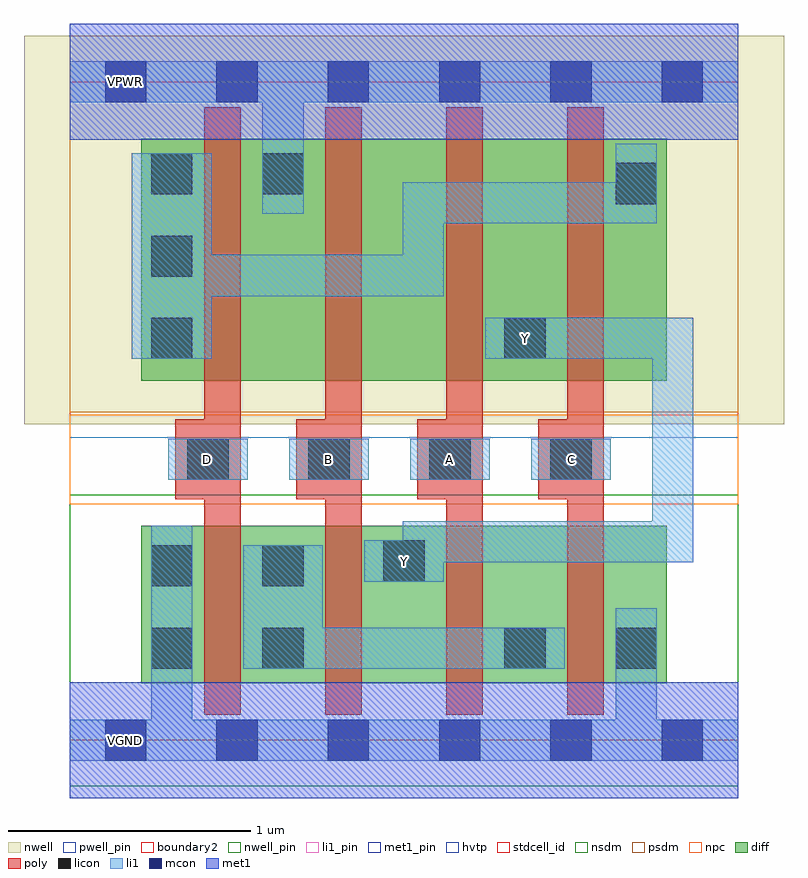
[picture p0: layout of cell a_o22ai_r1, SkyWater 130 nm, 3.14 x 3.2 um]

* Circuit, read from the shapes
.subckt a_o22ai_r1 A B C D VGND VNB VPB VPWR Y
XM1 n1 D VGND VNB sky130_fd_pr__nfet_01v8 w=0.65 l=0.15
XM2 Y B n1 VNB sky130_fd_pr__nfet_01v8 w=0.65 l=0.15
XM3 n1 A Y VNB sky130_fd_pr__nfet_01v8 w=0.65 l=0.15
XM4 VGND C n1 VNB sky130_fd_pr__nfet_01v8 w=0.65 l=0.15
XM5 VPWR D n2 VPB sky130_fd_pr__pfet_01v8_hvt w=1 l=0.15
XM6 n3 B VPWR VPB sky130_fd_pr__pfet_01v8_hvt w=1 l=0.15
XM7 Y A n3 VPB sky130_fd_pr__pfet_01v8_hvt w=1 l=0.15
XM8 n2 C Y VPB sky130_fd_pr__pfet_01v8_hvt w=1 l=0.15
.ends

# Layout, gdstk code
import gdstk
lib = gdstk.Library(unit=1e-6, precision=1e-09)
def R(c, l, rs):  # rectangles x0, y0, x1, y1
    for r in rs: c.add(gdstk.rectangle(r[:2], r[2:], *l))
def A(c, l, x, y, w, h, nx, ny, dx, dy):  # array of equal rectangles
    R(c, l, [(x+i*dx, y+j*dy, x+i*dx+w, y+j*dy+h) for i in range(nx) for j in range(ny)])
nwell_pin = (64, 16)
nwell = (64, 20)
diff = (65, 20)
poly = (66, 20)
licon = (66, 44)
li1_pin = (67, 16)
li1 = (67, 20)
mcon = (67, 44)
met1_pin = (68, 16)
met1 = (68, 20)
hvtp = (78, 44)
stdcell_id = (81, 4)
nsdm = (93, 44)
psdm = (94, 20)
npc = (95, 20)
pwell_pin = (122, 16)
boundary2 = (236, 0)

a_o22ai_r1 = lib.new_cell('a_o22ai_r1')
R(a_o22ai_r1, nwell_pin, [(0.145,2.635,0.315,2.805)])
R(a_o22ai_r1, nwell, [(-0.19,1.305,2.95,2.91)])
R(a_o22ai_r1, diff, [(0.295,0.235,0.88,0.885), (0.88,0.235,1.38,0.885), (1.38,0.235,1.88,0.885), (1.88,0.235,2.465,0.885), (0.295,1.485,0.88,2.485), (0.88,1.485,1.38,2.485), (1.38,1.485,1.88,2.485), (1.88,1.485,2.465,2.485)])
A(a_o22ai_r1, poly, 0.555, 0.105, 0.15, 2.51, 4, 1, 0.5, 0)
A(a_o22ai_r1, poly, 0.435, 0.995, 0.27, 0.33, 4, 1, 0.5, 0)
A(a_o22ai_r1, licon, 0.485, 1.075, 0.17, 0.17, 4, 1, 0.5, 0)
A(a_o22ai_r1, licon, 0.335, 1.575, 0.17, 0.17, 1, 3, 0, 0.34)
R(a_o22ai_r1, licon, [(0.335,0.295,0.505,0.465), (0.795,0.295,0.965,0.465), (1.795,0.295,1.965,0.465), (2.255,0.295,2.425,0.465), (0.335,0.635,0.505,0.805), (0.795,0.635,0.965,0.805), (1.295,0.655,1.465,0.825), (1.795,1.575,1.965,1.745), (2.255,2.215,2.425,2.385), (0.795,2.255,0.965,2.425)])
A(a_o22ai_r1, li1_pin, 0.485, 1.075, 0.17, 0.17, 4, 1, 0.5, 0)
R(a_o22ai_r1, li1_pin, [(1.295,0.655,1.465,0.825), (1.795,1.575,1.965,1.745)])
A(a_o22ai_r1, li1, 0.405, 1.075, 0.33, 0.17, 4, 1, 0.5, 0)
R(a_o22ai_r1, li1, [(0,-0.085,2.76,0.085), (0.335,-0.085,0.505,0.545), (2.255,-0.085,2.425,0.545), (0.335,0.295,0.505,0.885), (0.715,0.295,1.045,0.465), (0.715,0.295,1.045,0.805), (0.875,0.295,1.885,0.465), (1.715,0.295,2.045,0.465), (1.215,0.655,1.545,0.825), (1.375,0.655,1.545,0.905), (1.375,0.735,2.575,0.905), (2.405,0.735,2.575,1.745), (0.255,1.575,0.585,2.085), (1.715,1.575,2.045,1.745), (1.875,1.575,2.575,1.745), (0.415,1.835,0.585,2.425), (0.415,1.835,1.545,2.005), (1.375,1.835,1.545,2.305), (0.255,1.915,0.585,2.425), (1.375,2.005,1.545,2.135), (1.375,2.005,1.545,2.135), (1.375,2.005,1.545,2.135), (1.375,2.005,1.545,2.135), (1.375,2.135,2.425,2.305), (2.255,2.135,2.425,2.465), (0.795,2.175,0.965,2.805), (0.255,2.255,0.585,2.425), (0,2.635,2.76,2.805)])
A(a_o22ai_r1, mcon, 0.145, -0.085, 0.17, 0.17, 6, 2, 0.46, 2.72)
R(a_o22ai_r1, met1_pin, [(0.145,-0.085,0.315,0.085), (0.145,2.635,0.315,2.805)])
R(a_o22ai_r1, met1, [(0,-0.24,2.76,0.24), (0,2.48,2.76,2.96)])
R(a_o22ai_r1, hvtp, [(0,1.25,2.76,2.72)])
R(a_o22ai_r1, stdcell_id, [(0,0,2.76,2.72)])
R(a_o22ai_r1, nsdm, [(0,-0.19,2.76,1.015)])
R(a_o22ai_r1, psdm, [(0,1.355,2.76,2.91)])
R(a_o22ai_r1, npc, [(0,0.975,2.76,1.345)])
R(a_o22ai_r1, pwell_pin, [(0.145,-0.085,0.315,0.085)])
R(a_o22ai_r1, boundary2, [(0,0,2.76,2.72)])
a_o22ai_r1.add(gdstk.Label('A', (1.57,1.16), layer=67, texttype=5))
a_o22ai_r1.add(gdstk.Label('B', (1.07,1.16), layer=67, texttype=5))
a_o22ai_r1.add(gdstk.Label('C', (2.07,1.16), layer=67, texttype=5))
a_o22ai_r1.add(gdstk.Label('D', (0.57,1.16), layer=67, texttype=5))
a_o22ai_r1.add(gdstk.Label('Y', (1.38,0.74), layer=67, texttype=5))
a_o22ai_r1.add(gdstk.Label('Y', (1.88,1.66), layer=67, texttype=5))
a_o22ai_r1.add(gdstk.Label('VGND', (0.23,0), layer=68, texttype=5))
a_o22ai_r1.add(gdstk.Label('VPWR', (0.23,2.72), layer=68, texttype=5))
a_o22ai_r1.add(gdstk.Label('VPB', (0.23,2.72), layer=64, texttype=5))
a_o22ai_r1.add(gdstk.Label('VNB', (0.23,0), layer=64, texttype=59))

lib.write_gds('a_o22ai_r1.gds')
